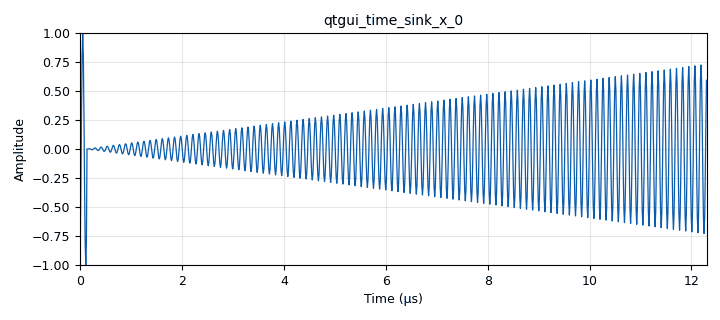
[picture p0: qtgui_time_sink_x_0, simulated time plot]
options:
  parameters:
    author: NataM
    copyright: JherysV
    generate_options: qt_gui
    id: punto2
    output_language: python
    title: CalculoPotenciaD1BG5
  states: {}

blocks:
- name: A
  id: variable_qtgui_range
  parameters:
    label: Señal
    orient: Qt.Horizontal
    start: '0'
    step: '1'
    stop: '30'
    value: '1'
  states: {}
- name: samp_rate
  id: variable
  parameters:
    value: '83200000'
  states: {}
- name: CalculoPotenciaComunicaciones_0
  id: CalculoPotenciaComunicaciones
  parameters:
    l_vector: '1024'
  states: {}
- name: analog_sig_source_x_0
  id: analog_sig_source_x
  parameters:
    amp: A
    freq: '8320000'
    offset: '0'
    phase: '0'
    samp_rate: samp_rate
    type: float
    waveform: analog.GR_COS_WAVE
  states: {}
- name: analog_sig_source_x_0_0
  id: analog_sig_source_x
  parameters:
    amp: A
    freq: '60000'
    offset: '0'
    phase: '0'
    samp_rate: samp_rate
    type: float
    waveform: analog.GR_SAW_WAVE
  states: {}
- name: blocks_multiply_xx_0
  id: blocks_multiply_xx
  parameters:
    type: float
  states: {}
- name: blocks_throttle_0
  id: blocks_throttle
  parameters:
    samples_per_second: samp_rate
    type: float
  states: {}
- name: qtgui_time_sink_x_0
  id: qtgui_time_sink_x
  parameters:
    size: '1024'
    srate: samp_rate
    type: float
  states: {}

connections:
- [analog_sig_source_x_0, '0', blocks_multiply_xx_0, '0']
- [analog_sig_source_x_0_0, '0', blocks_multiply_xx_0, '1']
- [blocks_multiply_xx_0, '0', blocks_throttle_0, '0']
- [blocks_throttle_0, '0', CalculoPotenciaComunicaciones_0, '0']
- [blocks_throttle_0, '0', qtgui_time_sink_x_0, '0']

metadata:
  file_format: 1
